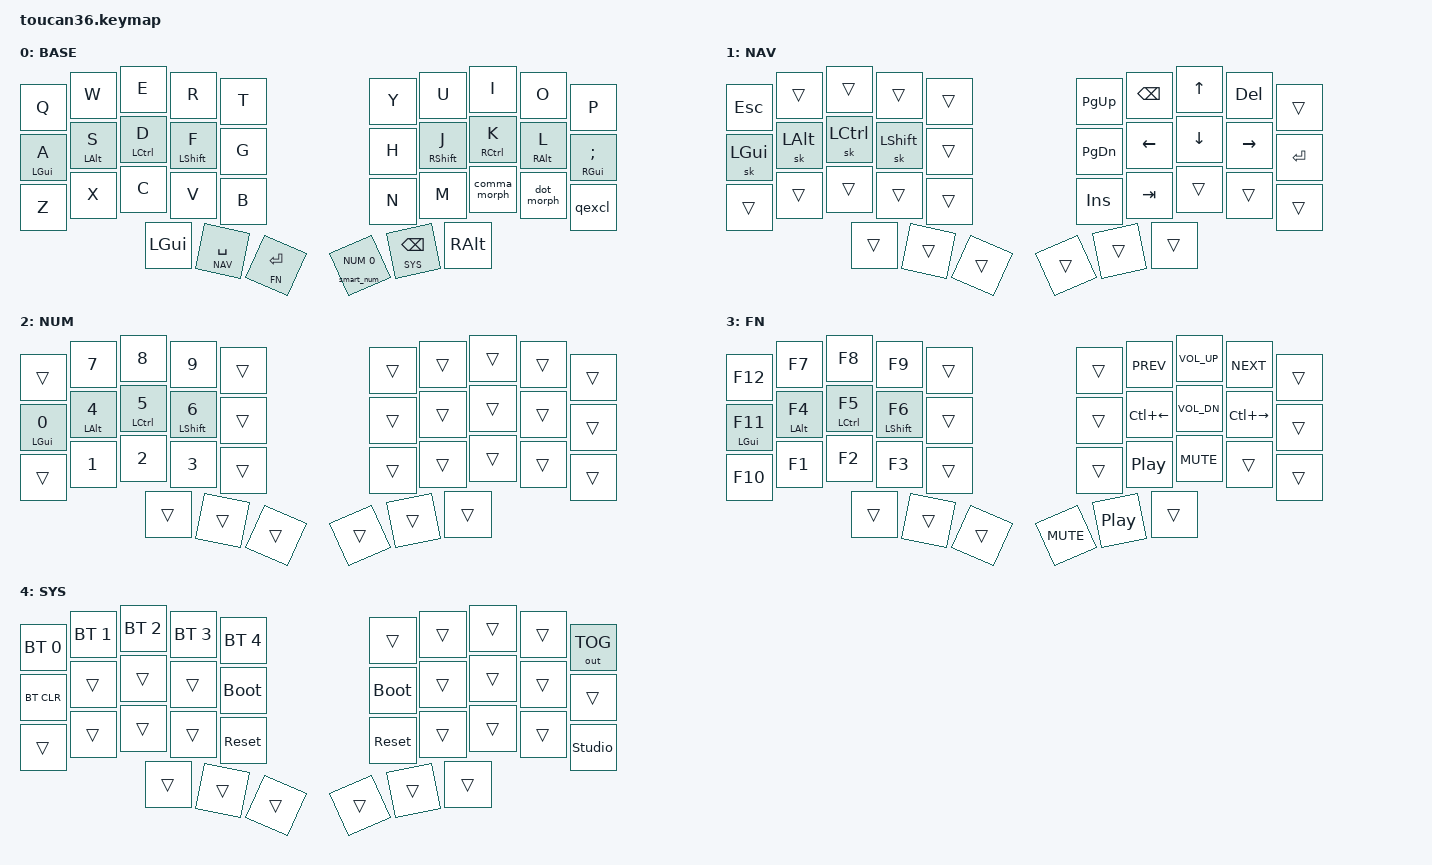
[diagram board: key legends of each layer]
#include <behaviors.dtsi>
#include <dt-bindings/zmk/keys.h>
#include <dt-bindings/zmk/bt.h>
#include <dt-bindings/zmk/outputs.h>
#include <zmk-helpers/helper.h>
#include <zmk-helpers/key-labels/36.h>
#include <behaviors/num_word.dtsi>

/* ── Layer indices ─────────────────────────────────────────────────────────── */
#define BASE 0
#define NAV  1
#define NUM  2
#define FN   3
#define SYS  4

#include "combos.dtsi"

/* ── Readability shorthand ─────────────────────────────────────────────────── */
#define ___ &trans

/* ── Key-position groups (36-key: 5 cols × 3 rows + 3 thumbs/side)
 *
 *  LT4 LT3 LT2 LT1 LT0  RT0 RT1 RT2 RT3 RT4
 *  LM4 LM3 LM2 LM1 LM0  RM0 RM1 RM2 RM3 RM4
 *  LB4 LB3 LB2 LB1 LB0  RB0 RB1 RB2 RB3 RB4
 *      LH2 LH1 LH0       RH0 RH1 RH2
 * ─────────────────────────────────────────── */
#define KEYS_L LT0 LT1 LT2 LT3 LT4  LM0 LM1 LM2 LM3 LM4  LB0 LB1 LB2 LB3 LB4
#define KEYS_R RT0 RT1 RT2 RT3 RT4  RM0 RM1 RM2 RM3 RM4  RB0 RB1 RB2 RB3 RB4
#define THUMBS LH0 LH1 LH2 RH0 RH1 RH2

/* ── Timerless home-row mod (HRM) helpers ──────────────────────────────────── */
#define QUICK_TAP_MS 175

#define MAKE_HRM(NAME, HOLD, TAP, TRIGGER_POS) \
    ZMK_HOLD_TAP(NAME,                          \
        bindings = <HOLD>, <TAP>;               \
        flavor = "balanced";                     \
        tapping-term-ms = <280>;                 \
        quick-tap-ms = <QUICK_TAP_MS>;           \
        require-prior-idle-ms = <150>;           \
        hold-trigger-on-release;                 \
        hold-trigger-key-positions = <TRIGGER_POS>;)

MAKE_HRM(hml, &kp, &kp, KEYS_R THUMBS)  /* left-hand HRMs  */
MAKE_HRM(hmr, &kp, &kp, KEYS_L THUMBS)  /* right-hand HRMs */

/* ── Shift morphs (from urob) ────────────────────────────────────────────────
 *  , + Shift → ;    . + Shift → :    ? + Shift → !
 */
#define SIMPLE_MORPH(NAME, MOD, BINDING1, BINDING2)                            \
  ZMK_MOD_MORPH(NAME, mods = <(MOD_L##MOD | MOD_R##MOD)>;                     \
                bindings = <BINDING1>, <BINDING2>;)

SIMPLE_MORPH(comma_morph, SFT, &kp COMMA, &kp SEMICOLON)
SIMPLE_MORPH(dot_morph,    SFT, &kp DOT,   &kp COLON)
SIMPLE_MORPH(qexcl,        SFT, &kp QMARK, &kp EXCL)

/* ── Smart num (numsword) ────────────────────────────────────────────────────
 *  Tap:       num-word (temporary NUM for one word/sequence)
 *  Double-tap: sticky NUM layer
 *  Hold:       NUM layer
 */
#define SMART_NUM &smart_num NUM 0
ZMK_HOLD_TAP(smart_num, bindings = <&mo>, <&num_dance>; flavor = "balanced";
             tapping-term-ms = <200>; quick-tap-ms = <175>;)
ZMK_TAP_DANCE(num_dance, bindings = <&num_word NUM>, <&sl NUM>;
              tapping-term-ms = <200>;)

/* ── Conditional layer: FN + NUM = SYS ─────────────────────────────────────── */
ZMK_CONDITIONAL_LAYER(sys, FN NUM, SYS)

/ {
    keymap {
        compatible = "zmk,keymap";

        /* BASE — QWERTY with timerless home-row mods (GACS order, pinky→index)
         *
         *  No outer columns vs. 42-key. Keys relocated:
         *    LCTRL → HRM on D          (hml LCTRL D)
         *    LSHFT → HRM on F          (hml LSHFT F)
         *    ESC   → NAV layer, LT4 slot (NAV + Q)
         *
         *  Punctuation morphs on bottom row: , → ; . → : ? → !
         *
         *  Thumb cluster:
         *    L0: LGUI          L1: NAV/SPACE      L2: FN/RET
         *    R0: SMART_NUM     R1: SYS/BSPC       R2: RALT
         */
        base {
            display-name = "BASE";
            bindings = <
// ╭──────────────────┬──────────────────┬──────────────────┬──────────────────┬─────────╮ ╭─────────┬──────────────────┬──────────────────┬───────────────┬──────────────────╮
   &kp Q               &kp W              &kp E              &kp R              &kp T       &kp Y     &kp U              &kp I              &kp O           &kp P
// ├──────────────────┼──────────────────┼──────────────────┼──────────────────┼─────────┤ ├─────────┼──────────────────┼──────────────────┼───────────────┼──────────────────┤
   &hml LGUI A          &hml LALT S        &hml LCTRL D       &hml LSHFT F       &kp G       &kp H     &hmr RSHFT J       &hmr RCTRL K       &hmr RALT L     &hmr RGUI SEMI
// ├──────────────────┼──────────────────┼──────────────────┼──────────────────┼─────────┤ ├─────────┼──────────────────┼──────────────────┼───────────────┼──────────────────┤
   &kp Z               &kp X              &kp C              &kp V              &kp B       &kp N     &kp M              &comma_morph       &dot_morph      &qexcl
// ╰──────────────────┴──────────────────┴──────────────────┼──────────────────┼─────────┤ ├─────────┼──────────────────┼──────────────────┼───────────────┴──────────────────╯
                                                              &kp LGUI           &lt NAV SPACE   &lt FN RET   &smart_num NUM 0   &lt SYS BSPC   &kp RALT
//                                                           ╰──────────────────┴─────────╯ ╰─────────┴──────────────────┴──────────────────╯
            >;
        };

        /* NAV — navigation + one-shot mods
         *
         *  ESC placed at LT4 (NAV + Q).
         *  RET placed at RM4 — Enter accessible while in NAV.
         */
        nav {
            display-name = "NAV";
            bindings = <
// ╭──────────┬─────────┬─────────┬──────────┬─────╮ ╭───────────┬──────────┬──────────┬───────────┬─────────╮
   &kp ESC     ___       ___       ___         ___    &kp PG_UP   &kp BSPC   &kp UP     &kp DEL     ___
// ├──────────┼─────────┼─────────┼──────────┼─────┤ ├───────────┼──────────┼──────────┼───────────┼─────────┤
   &sk LGUI    &sk LALT  &sk LCTRL &sk LSHFT   ___    &kp PG_DN   &kp LEFT   &kp DOWN   &kp RIGHT   &kp RET
// ├──────────┼─────────┼─────────┼──────────┼─────┤ ├───────────┼──────────┼──────────┼───────────┼─────────┤
   ___          ___       ___       ___         ___    &kp INS     &kp TAB    ___        ___         ___
// ╰──────────┴─────────┴─────────┼──────────┼─────┤ ├───────────┼──────────┼──────────┼───────────┴─────────╯
                                    ___         ___    ___         ___        ___        ___
//                                 ╰──────────┴─────╯ ╰───────────┴──────────┴──────────┴─────╯
            >;
        };

        /* NUM — numpad-style numbers with HRMs for modifier access */
        num {
            display-name = "NUM";
            bindings = <
// ╭─────┬──────────┬──────────┬──────────┬─────╮ ╭─────┬─────┬─────┬─────┬─────╮
   ___     &kp N7    &kp N8     &kp N9     ___    ___   ___   ___   ___   ___
// ├─────┼──────────┼──────────┼──────────┼─────┤ ├─────┼─────┼─────┼─────┼─────┤
   &hml LGUI N0   &hml LALT N4   &hml LCTRL N5   &hml LSHFT N6   ___    ___   ___   ___   ___   ___
// ├─────┼──────────┼──────────┼──────────┼─────┤ ├─────┼─────┼─────┼─────┼─────┤
   ___     &kp N1    &kp N2     &kp N3     ___    ___   ___   ___   ___   ___
// ╰─────┴──────────┴──────────┼──────────┼─────┤ ├─────┼─────┼─────┼─────┴─────╯
                                ___        ___    ___   ___   ___   ___
//                             ╰──────────┴─────╯ ╰─────┴─────┴─────┴─────╯
            >;
        };

        /* FN — function keys + media controls
         *
         *  Right thumbs: mute + play/pause while FN is held
         */
        fn {
            display-name = "FN";
            bindings = <
// ╭──────────┬──────────┬──────────┬──────────┬─────╮ ╭─────┬───────────┬────────────┬────────────┬─────╮
   &kp F12     &kp F7     &kp F8     &kp F9     ___    ___   &kp C_PREV   &kp C_VOL_UP  &kp C_NEXT   ___
// ├──────────┼──────────┼──────────┼──────────┼─────┤ ├─────┼───────────┼────────────┼────────────┼─────┤
   &hml LGUI F11   &hml LALT F4   &hml LCTRL F5   &hml LSHFT F6   ___    ___   &kp LC(LEFT)   &kp C_VOL_DN   &kp LC(RIGHT)   ___
// ├──────────┼──────────┼──────────┼──────────┼─────┤ ├─────┼───────────┼────────────┼────────────┼─────┤
   &kp F10     &kp F1     &kp F2     &kp F3     ___    ___   &kp C_PP    &kp C_MUTE   ___          ___
// ╰──────────┴──────────┴──────────┼──────────┼─────┤ ├─────┼───────────┼────────────┼────────────┴─────╯
                                      ___        ___    ___   &kp C_MUTE   &kp C_PP   ___
//                                   ╰──────────┴─────╯ ╰─────┴───────────┴────────────┴─────╯
            >;
        };

        /* SYS — Bluetooth profile selection + system controls */
        sys {
            display-name = "SYS";
            bindings = <
// ╭──────────────┬──────────────┬──────────────┬──────────────┬──────────────╮ ╭─────┬─────┬─────┬─────┬──────────────╮
   &bt BT_SEL 0   &bt BT_SEL 1   &bt BT_SEL 2   &bt BT_SEL 3   &bt BT_SEL 4   ___   ___   ___   ___   &out OUT_TOG
// ├──────────────┼──────────────┼──────────────┼──────────────┼──────────────┤ ├─────┼─────┼─────┼─────┼──────────────┤
   &bt BT_CLR      ___            ___            ___            &bootloader      &bootloader   ___   ___   ___   ___
// ├──────────────┼──────────────┼──────────────┼──────────────┼──────────────┤ ├─────┼─────┼─────┼─────┼──────────────┤
   ___             ___            ___            ___            &sys_reset       &sys_reset   ___   ___   ___   &studio_unlock
// ╰──────────────┴──────────────┴──────────────┼──────────────┼──────────────┤ ├─────┼─────┼─────┼─────┴──────────────╯
                                                  ___            ___              ___   ___   ___   ___
//                                               ╰──────────────┴──────────────╯ ╰─────┴─────┴─────┴─────╯
            >;
        };

        extra_1 {
                status = "reserved";
        };

        extra_2 {
                status = "reserved";
        };

        extra_3 {
                status = "reserved";
        };
    };
};
